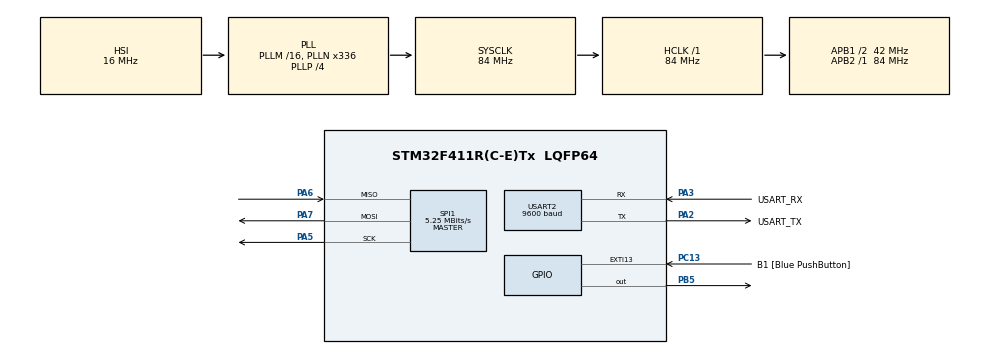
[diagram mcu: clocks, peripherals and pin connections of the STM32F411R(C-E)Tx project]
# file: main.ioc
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Mcu.Family=STM32F4
Mcu.Name=STM32F411R(C-E)Tx
Mcu.Package=LQFP64
NVIC.PriorityGroup=NVIC_PRIORITYGROUP_0
PA13.GPIO_Label=TMS
PA13.Signal=SYS_JTMS-SWDIO
PA14.GPIO_Label=TCK
PA14.Signal=SYS_JTCK-SWCLK
PA2.GPIO_Label=USART_TX
PA2.Mode=Asynchronous
PA2.Signal=USART2_TX
PA3.GPIO_Label=USART_RX
PA3.Mode=Asynchronous
PA3.Signal=USART2_RX
PA5.Mode=Full_Duplex_Master
PA5.Signal=SPI1_SCK
PA6.Mode=Full_Duplex_Master
PA6.Signal=SPI1_MISO
PA7.Mode=Full_Duplex_Master
PA7.Signal=SPI1_MOSI
PB3.GPIO_Label=SWO
PB3.Signal=SYS_JTDO-SWO
PB5.Signal=GPIO_Output
PC13-ANTI_TAMP.GPIO_Label=B1 [Blue PushButton]
PC13-ANTI_TAMP.GPIO_ModeDefaultEXTI=GPIO_MODE_IT_FALLING
PC13-ANTI_TAMP.Signal=GPXTI13
PC14-OSC32_IN.Signal=RCC_OSC32_IN
PC15-OSC32_OUT.Signal=RCC_OSC32_OUT
PH0\ -\ OSC_IN.Signal=RCC_OSC_IN
PH1\ -\ OSC_OUT.Signal=RCC_OSC_OUT
ProjectManager.HeapSize=0x200
ProjectManager.StackSize=0x400
ProjectManager.TargetToolchain=Makefile
RCC.48MHZClocksFreq_Value=84000000
RCC.AHBFreq_Value=84000000
RCC.APB1CLKDivider=RCC_HCLK_DIV2
RCC.APB1Freq_Value=42000000
RCC.APB1TimFreq_Value=84000000
RCC.APB2Freq_Value=84000000
RCC.APB2TimFreq_Value=84000000
RCC.CortexFreq_Value=84000000
RCC.FLatency-AdvancedSettings=FLASH_LATENCY_2
RCC.HCLKFreq_Value=84000000
RCC.HSE_VALUE=8000000
RCC.HSI_VALUE=16000000
RCC.LSE_VALUE=32768
RCC.PLLN=336
RCC.PLLP=RCC_PLLP_DIV4
RCC.SYSCLKFreq_VALUE=84000000
RCC.SYSCLKSource=RCC_SYSCLKSOURCE_PLLCLK
RCC.VCOOutputFreq_Value=336000000
SPI1.BaudRatePrescaler=SPI_BAUDRATEPRESCALER_16
SPI1.CalculateBaudRate=5.25 MBits/s
SPI1.Direction=SPI_DIRECTION_2LINES
SPI1.Mode=SPI_MODE_MASTER
SPI1.VirtualType=VM_MASTER
USART2.BaudRate=9600
USART2.VirtualMode=VM_ASYNC
board=NUCLEO-F411RE

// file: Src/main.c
#include "main.h"
#include "stm32f4xx_hal.h"

/* USER CODE BEGIN Includes */
/* vim: set ai et ts=4 sw=4: */
#include <string.h>
#include <stdarg.h>
#include "sdcard.h"
/* USER CODE END Includes */

SPI_HandleTypeDef hspi1;

UART_HandleTypeDef huart2;

/* USER CODE BEGIN PV */
/* Private variables ---------------------------------------------------------*/

/* USER CODE END PV */

void SystemClock_Config(void);
static void MX_GPIO_Init(void);
static void MX_SPI1_Init(void);
static void MX_USART2_UART_Init(void);

/* USER CODE BEGIN PFP */
/* Private function prototypes -----------------------------------------------*/

/* USER CODE END PFP */

/* USER CODE BEGIN 0 */

void UART_Printf(const char* fmt, ...) {
    char buff[256];
    va_list args;
    va_start(args, fmt);
    vsnprintf(buff, sizeof(buff), fmt, args);
    HAL_UART_Transmit(&huart2, (uint8_t*)buff, strlen(buff), HAL_MAX_DELAY);
    va_end(args);
}

void init() {
    int code;
    UART_Printf("Ready!\r\n");

    code = SDCARD_Init();
    if(code < 0) {
        UART_Printf("SDCARD_Init() failed: code = %d\r\n", code);
        return;
    }

    UART_Printf("SDCARD_Init() done!\r\n");

    uint32_t blocksNum;
    code = SDCARD_GetBlocksNumber(&blocksNum);
    if(code < 0) {
        UART_Printf("SDCARD_GetBlocksNumber() failed: code = %d\r\n", code);
        return;
    }

    UART_Printf("SDCARD_GetBlocksNumber() done! blocksNum = %u (or %u Mb)\r\n",
        blocksNum, blocksNum/2000 /* same as * 512 / 1000 / 1000 */);

    uint32_t startBlockAddr = 0x00ABCD;
    uint32_t blockAddr = startBlockAddr;
    uint8_t block[512];

    snprintf((char*)block, sizeof(block), "0x%08X", (int)blockAddr);

    code = SDCARD_WriteSingleBlock(blockAddr, block);
    if(code < 0) {
        UART_Printf("SDCARD_WriteSingleBlock() failed: code = %d\r\n", code);
        return;
    }
    UART_Printf("SDCARD_WriteSingleBlock(0x%08X, ...) done!\r\n", blockAddr);

    memset(block, 0, sizeof(block));

    code = SDCARD_ReadSingleBlock(blockAddr, block);
    if(code < 0) {
        UART_Printf("SDCARD_ReadSingleBlock() failed: code = %d\r\n", code);
        return;
    }

    UART_Printf("SDCARD_ReadSingleBlock(0x%08X, ...) done! block = \"%c%c%c%c%c%c%c%c%c%c...\"\r\n",
        blockAddr, block[0], block[1], block[2], block[3], block[4], block[5], block[6], block[7], block[8], block[9]);

    blockAddr = startBlockAddr + 1;
    code = SDCARD_WriteBegin(blockAddr);
    if(code < 0) {
        UART_Printf("SDCARD_WriteBegin() failed: code = %d\r\n", code);
        return;
    }
    UART_Printf("SDCARD_WriteBegin(0x%08X, ...) done!\r\n", blockAddr);

    for(int i = 0; i < 3; i++) {
        snprintf((char*)block, sizeof(block), "0x%08X", (int)blockAddr);

        code = SDCARD_WriteData(block);
        if(code < 0) {
            UART_Printf("SDCARD_WriteData() failed: code = %d\r\n", code);
            return;
        }

        UART_Printf("SDCARD_WriteData() done! blockAddr = %08X\r\n", blockAddr);
        blockAddr++;
    }

    code = SDCARD_WriteEnd();
    if(code < 0) {
        UART_Printf("SDCARD_WriteEnd() failed: code = %d\r\n", code);
        return;
    }
    UART_Printf("SDCARD_WriteEnd() done!\r\n");

    blockAddr = startBlockAddr + 1;
    code = SDCARD_ReadBegin(blockAddr);
    if(code < 0) {
        UART_Printf("SDCARD_ReadBegin() failed: code = %d\r\n", code);
        return;
    }
    UART_Printf("SDCARD_ReadBegin(0x%08X, ...) done!\r\n", blockAddr);

    for(int i = 0; i < 3; i++) {
        code = SDCARD_ReadData(block);
        if(code < 0) {
            UART_Printf("SDCARD_ReadData() failed: code = %d\r\n", code);
            return;
        }

        UART_Printf("SDCARD_ReadData() done! block = \"%c%c%c%c%c%c%c%c%c%c...\"\r\n",
            block[0], block[1], block[2], block[3], block[4], block[5], block[6], block[7], block[8], block[9]);
    }

    code = SDCARD_ReadEnd();
    if(code < 0) {
        UART_Printf("SDCARD_ReadEnd() failed: code = %d\r\n", code);
        return;
    }
    UART_Printf("SDCARD_ReadEnd() done!\r\n");
}

void loop() {
    HAL_Delay(500);
}

/* USER CODE END 0 */

int main(void)
{

  /* MCU Configuration----------------------------------------------------------*/

  /* Reset of all peripherals, Initializes the Flash interface and the Systick. */
  HAL_Init();

  /* Configure the system clock */
  SystemClock_Config();

  /* Initialize all configured peripherals */
  MX_GPIO_Init();
  MX_SPI1_Init();
  MX_USART2_UART_Init();

  /* Infinite loop */
  /* USER CODE BEGIN WHILE */
  init();
  while (1)
  {
    loop();
  /* USER CODE END WHILE */

  }

}

/** System Clock Configuration
*/
void SystemClock_Config(void)
{

  RCC_OscInitTypeDef RCC_OscInitStruct;
  RCC_ClkInitTypeDef RCC_ClkInitStruct;

    /**Configure the main internal regulator output voltage
    */
  __HAL_RCC_PWR_CLK_ENABLE();

  __HAL_PWR_VOLTAGESCALING_CONFIG(PWR_REGULATOR_VOLTAGE_SCALE1);

    /**Initializes the CPU, AHB and APB busses clocks
    */
  RCC_OscInitStruct.OscillatorType = RCC_OSCILLATORTYPE_HSI;
  RCC_OscInitStruct.HSIState = RCC_HSI_ON;
  RCC_OscInitStruct.HSICalibrationValue = 16;
  RCC_OscInitStruct.PLL.PLLState = RCC_PLL_ON;
  RCC_OscInitStruct.PLL.PLLSource = RCC_PLLSOURCE_HSI;
  RCC_OscInitStruct.PLL.PLLM = 16;
  RCC_OscInitStruct.PLL.PLLN = 336;
  RCC_OscInitStruct.PLL.PLLP = RCC_PLLP_DIV4;
  RCC_OscInitStruct.PLL.PLLQ = 4;
  if (HAL_RCC_OscConfig(&RCC_OscInitStruct) != HAL_OK)
  {
    _Error_Handler(__FILE__, __LINE__);
  }

    /**Initializes the CPU, AHB and APB busses clocks
    */
  RCC_ClkInitStruct.ClockType = RCC_CLOCKTYPE_HCLK|RCC_CLOCKTYPE_SYSCLK
                              |RCC_CLOCKTYPE_PCLK1|RCC_CLOCKTYPE_PCLK2;
  RCC_ClkInitStruct.SYSCLKSource = RCC_SYSCLKSOURCE_PLLCLK;
  RCC_ClkInitStruct.AHBCLKDivider = RCC_SYSCLK_DIV1;
  RCC_ClkInitStruct.APB1CLKDivider = RCC_HCLK_DIV2;
  RCC_ClkInitStruct.APB2CLKDivider = RCC_HCLK_DIV1;

  if (HAL_RCC_ClockConfig(&RCC_ClkInitStruct, FLASH_LATENCY_2) != HAL_OK)
  {
    _Error_Handler(__FILE__, __LINE__);
  }

    /**Configure the Systick interrupt time
    */
  HAL_SYSTICK_Config(HAL_RCC_GetHCLKFreq()/1000);

    /**Configure the Systick
    */
  HAL_SYSTICK_CLKSourceConfig(SYSTICK_CLKSOURCE_HCLK);

  /* SysTick_IRQn interrupt configuration */
  HAL_NVIC_SetPriority(SysTick_IRQn, 0, 0);
}

/* SPI1 init function */
static void MX_SPI1_Init(void)
{

  /* SPI1 parameter configuration*/
  hspi1.Instance = SPI1;
  hspi1.Init.Mode = SPI_MODE_MASTER;
  hspi1.Init.Direction = SPI_DIRECTION_2LINES;
  hspi1.Init.DataSize = SPI_DATASIZE_8BIT;
  hspi1.Init.CLKPolarity = SPI_POLARITY_LOW;
  hspi1.Init.CLKPhase = SPI_PHASE_1EDGE;
  hspi1.Init.NSS = SPI_NSS_SOFT;
  hspi1.Init.BaudRatePrescaler = SPI_BAUDRATEPRESCALER_16;
  hspi1.Init.FirstBit = SPI_FIRSTBIT_MSB;
  hspi1.Init.TIMode = SPI_TIMODE_DISABLE;
  hspi1.Init.CRCCalculation = SPI_CRCCALCULATION_DISABLE;
  hspi1.Init.CRCPolynomial = 10;
  if (HAL_SPI_Init(&hspi1) != HAL_OK)
  {
    _Error_Handler(__FILE__, __LINE__);
  }

}

/* USART2 init function */
static void MX_USART2_UART_Init(void)
{

  huart2.Instance = USART2;
  huart2.Init.BaudRate = 9600;
  huart2.Init.WordLength = UART_WORDLENGTH_8B;
  huart2.Init.StopBits = UART_STOPBITS_1;
  huart2.Init.Parity = UART_PARITY_NONE;
  huart2.Init.Mode = UART_MODE_TX_RX;
  huart2.Init.HwFlowCtl = UART_HWCONTROL_NONE;
  huart2.Init.OverSampling = UART_OVERSAMPLING_16;
  if (HAL_UART_Init(&huart2) != HAL_OK)
  {
    _Error_Handler(__FILE__, __LINE__);
  }

}

/** Configure pins as
        * Analog
        * Input
        * Output
        * EVENT_OUT
        * EXTI
*/
static void MX_GPIO_Init(void)
{

  GPIO_InitTypeDef GPIO_InitStruct;

  /* GPIO Ports Clock Enable */
  __HAL_RCC_GPIOC_CLK_ENABLE();
  __HAL_RCC_GPIOH_CLK_ENABLE();
  __HAL_RCC_GPIOA_CLK_ENABLE();
  __HAL_RCC_GPIOB_CLK_ENABLE();

  /*Configure GPIO pin Output Level */
  HAL_GPIO_WritePin(GPIOB, GPIO_PIN_5, GPIO_PIN_RESET);

  /*Configure GPIO pin : B1_Pin */
  GPIO_InitStruct.Pin = B1_Pin;
  GPIO_InitStruct.Mode = GPIO_MODE_IT_FALLING;
  GPIO_InitStruct.Pull = GPIO_NOPULL;
  HAL_GPIO_Init(B1_GPIO_Port, &GPIO_InitStruct);

  /*Configure GPIO pin : PB5 */
  GPIO_InitStruct.Pin = GPIO_PIN_5;
  GPIO_InitStruct.Mode = GPIO_MODE_OUTPUT_PP;
  GPIO_InitStruct.Pull = GPIO_NOPULL;
  GPIO_InitStruct.Speed = GPIO_SPEED_FREQ_LOW;
  HAL_GPIO_Init(GPIOB, &GPIO_InitStruct);

}

void _Error_Handler(char * file, int line)
{
  while(1)
  {
  }
}

/************************ (C) COPYRIGHT STMicroelectronics *****END OF FILE****/
